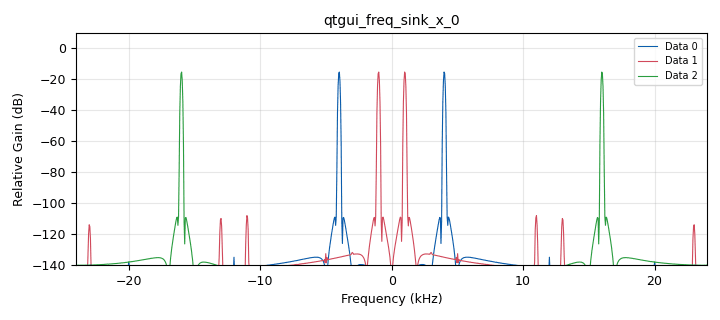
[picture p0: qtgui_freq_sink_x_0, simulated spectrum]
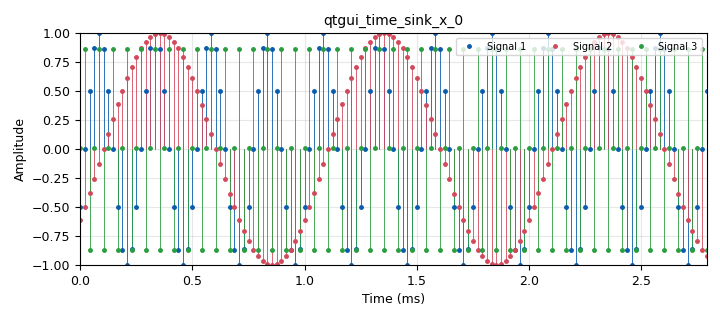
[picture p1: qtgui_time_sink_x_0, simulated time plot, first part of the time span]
options:
  parameters:
    author: rafael_ferreira_camilo_barreto_C1A_G6
    generate_options: qt_gui
    id: LAB1_PARTE2_PUNTO4_COMU1_G6
    output_language: python
    title: lab1_punto3
  states: {}

blocks:
- name: Freq
  id: variable_qtgui_range
  parameters:
    label: frequency
    start: '1000'
    step: '1000'
    stop: '40000'
    value: '4000'
  states: {}
- name: samp_rate
  id: variable
  parameters:
    value: '48000'
  states: {}
- name: analog_sig_source_x_0
  id: analog_sig_source_x
  parameters:
    amp: '1'
    freq: Freq
    offset: '0'
    phase: '0'
    samp_rate: samp_rate
    type: float
    waveform: analog.GR_COS_WAVE
  states: {}
- name: analog_sig_source_x_1
  id: analog_sig_source_x
  parameters:
    amp: '1'
    freq: Freq
    offset: '0'
    phase: '0'
    samp_rate: samp_rate
    type: float
    waveform: analog.GR_COS_WAVE
  states: {}
- name: analog_sig_source_x_2
  id: analog_sig_source_x
  parameters:
    amp: '1'
    freq: Freq
    offset: '0'
    phase: '0'
    samp_rate: samp_rate
    type: float
    waveform: analog.GR_COS_WAVE
  states: {}
- name: blocks_throttle_0
  id: blocks_throttle
  parameters:
    samples_per_second: samp_rate
    type: float
  states: {}
- name: qtgui_freq_sink_x_0
  id: qtgui_freq_sink_x
  parameters:
    bw: samp_rate
    fc: '0'
    fftsize: '1024'
    nconnections: '3'
    type: float
  states: {}
- name: qtgui_time_sink_x_0
  id: qtgui_time_sink_x
  parameters:
    nconnections: '3'
    size: '1024'
    srate: samp_rate
    stemplot: 'True'
    type: float
  states: {}
- name: rational_resampler_xxx_0
  id: rational_resampler_xxx
  parameters:
    decim: '1'
    interp: '1'
    type: fff
  states: {}
- name: rational_resampler_xxx_1
  id: rational_resampler_xxx
  parameters:
    decim: '1'
    interp: '4'
    type: fff
  states: {}
- name: rational_resampler_xxx_2
  id: rational_resampler_xxx
  parameters:
    decim: '4'
    interp: '1'
    type: fff
  states: {}

connections:
- [analog_sig_source_x_0, '0', rational_resampler_xxx_0, '0']
- [analog_sig_source_x_1, '0', rational_resampler_xxx_1, '0']
- [analog_sig_source_x_2, '0', rational_resampler_xxx_2, '0']
- [blocks_throttle_0, '0', qtgui_freq_sink_x_0, '0']
- [blocks_throttle_0, '0', qtgui_time_sink_x_0, '0']
- [rational_resampler_xxx_0, '0', blocks_throttle_0, '0']
- [rational_resampler_xxx_1, '0', qtgui_freq_sink_x_0, '1']
- [rational_resampler_xxx_1, '0', qtgui_time_sink_x_0, '1']
- [rational_resampler_xxx_2, '0', qtgui_freq_sink_x_0, '2']
- [rational_resampler_xxx_2, '0', qtgui_time_sink_x_0, '2']

metadata:
  file_format: 1
  grc_version: 3.9.8.0
